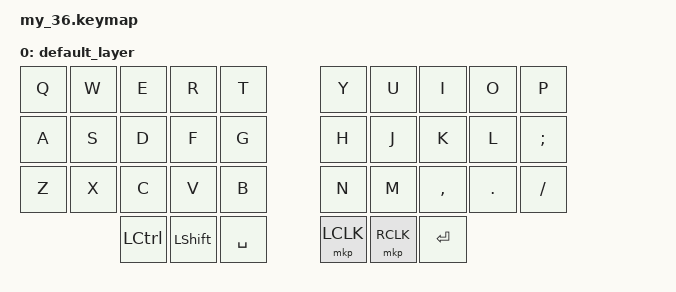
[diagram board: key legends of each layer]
#include <behaviors.dtsi>
#include <dt-bindings/zmk/keys.h>
#include <dt-bindings/zmk/pointing.h>

/ {
    keymap {
        compatible = "zmk,keymap";

        default_layer { // Layer 0
            // ---------------------------------------------------------------
            // |  Q  |  W  |  E  |  R  |  T  |     |  Y  |  U  |  I  |  O  |  P  |
            // |  A  |  S  |  D  |  F  |  G  |     |  H  |  J  |  K  |  L  |  ;  |
            // |  Z  |  X  |  C  |  V  |  B  |     |  N  |  M  |  ,  |  .  |  /  |
            //             | CTRL | SHFT | SPC |   | LCLK | RCLK | RET |
            //
            // Placeholder layout: clicks live on the right thumb keys because
            // the trackball's own button is not wired.
            bindings = <
                &kp Q &kp W &kp E &kp R &kp T    &kp Y &kp U &kp I     &kp O   &kp P
                &kp A &kp S &kp D &kp F &kp G    &kp H &kp J &kp K     &kp L   &kp SEMI
                &kp Z &kp X &kp C &kp V &kp B    &kp N &kp M &kp COMMA &kp DOT &kp FSLH
                      &kp LCTRL &kp LSHFT &kp SPACE    &mkp LCLK &mkp RCLK &kp RET
            >;
        };
    };
};
